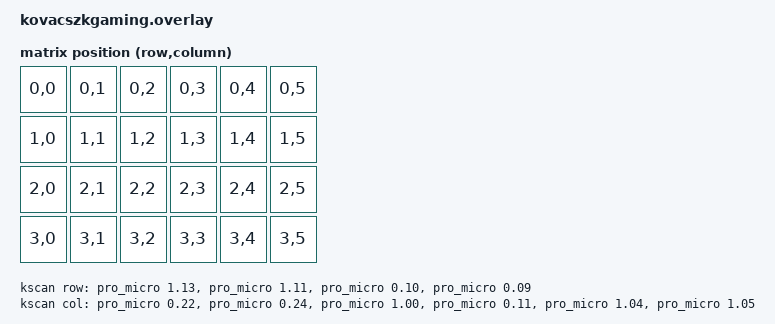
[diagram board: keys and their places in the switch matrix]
#include <dt-bindings/zmk/matrix_transform.h>

/ {
    chosen {
        zmk,kscan = &kscan;
        zmk,matrix_transform = &transform;
    };

    kscan: kscan {
        compatible = "zmk,kscan-gpio-matrix";
        label = "KSCAN";
        diode-direction = "col2row";

        row-gpios = <&pro_micro 1.13 (GPIO_ACTIVE_HIGH | GPIO_PULL_DOWN)>,
                    <&pro_micro 1.11 (GPIO_ACTIVE_HIGH | GPIO_PULL_DOWN)>,
                    <&pro_micro 0.10 (GPIO_ACTIVE_HIGH | GPIO_PULL_DOWN)>,
                    <&pro_micro 0.09 (GPIO_ACTIVE_HIGH | GPIO_PULL_DOWN)>;

        col-gpios = <&pro_micro 0.22 (GPIO_ACTIVE_HIGH)>,
                    <&pro_micro 0.24 (GPIO_ACTIVE_HIGH)>,
                    <&pro_micro 1.00 (GPIO_ACTIVE_HIGH)>,
                    <&pro_micro 0.11 (GPIO_ACTIVE_HIGH)>,
                    <&pro_micro 1.04 (GPIO_ACTIVE_HIGH)>,
                    <&pro_micro 1.05 (GPIO_ACTIVE_HIGH)>;
                    
    };

    transform: matrix_transform {
        compatible = "zmk,matrix-transform";
        rows = <4>;
        columns = <6>;

        map = <
                     RC(0, 0) RC(0, 1) RC(0, 2) RC(0, 3) RC(0, 4) RC(0, 5)
                     RC(1, 0) RC(1, 1) RC(1, 2) RC(1, 3) RC(1, 4) RC(1, 5)
                     RC(2, 0) RC(2, 1) RC(2, 2) RC(2, 3) RC(2, 4) RC(2, 5)
                     RC(3, 0) RC(3, 1) RC(3, 2) RC(3, 3) RC(3, 4) RC(3, 5)
        >;
    };
};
